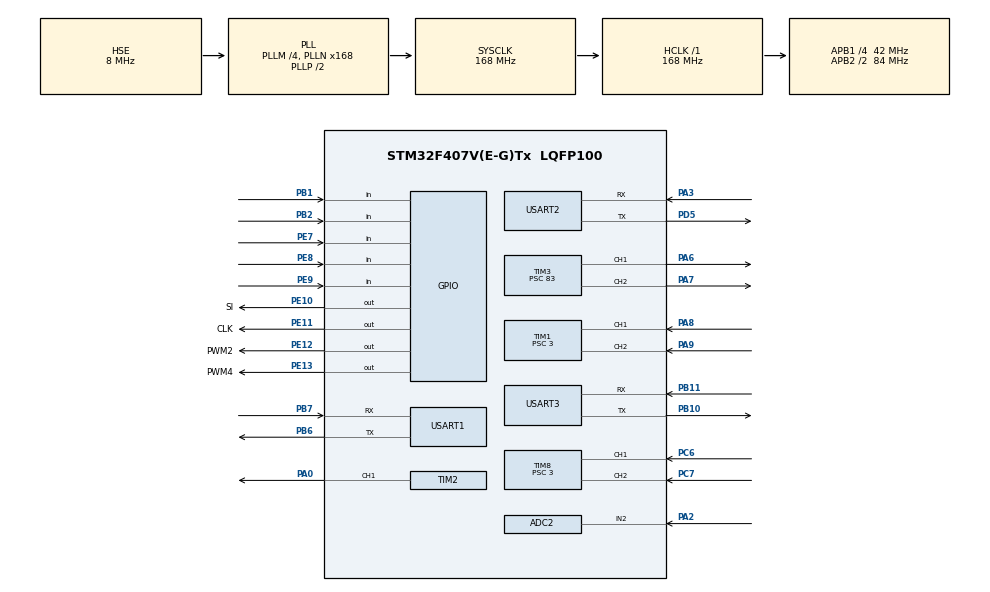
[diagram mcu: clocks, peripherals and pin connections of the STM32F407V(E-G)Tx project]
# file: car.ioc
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ADC2.Channel-1\#ChannelRegularConversion=ADC_CHANNEL_2
ADC2.ClockPrescaler=ADC_CLOCK_SYNC_PCLK_DIV6
ADC2.NbrOfConversionFlag=1
ADC2.Rank-1\#ChannelRegularConversion=1
ADC2.Resolution=ADC_RESOLUTION_8B
ADC2.SamplingTime-1\#ChannelRegularConversion=ADC_SAMPLETIME_3CYCLES
Mcu.Family=STM32F4
Mcu.Name=STM32F407V(E-G)Tx
Mcu.Package=LQFP100
NVIC.ADC_IRQn=true\:0\:0\:false\:false\:true\:true\:true
NVIC.PriorityGroup=NVIC_PRIORITYGROUP_4
NVIC.TIM4_IRQn=true\:1\:0\:true\:false\:true\:true\:true
NVIC.TIM7_IRQn=true\:2\:0\:true\:false\:true\:true\:true
NVIC.USART1_IRQn=true\:0\:0\:false\:false\:true\:true\:true
PA0-WKUP.Signal=S_TIM2_CH1_ETR
PA13.Mode=Serial_Wire
PA13.Signal=SYS_JTMS-SWDIO
PA14.Mode=Serial_Wire
PA14.Signal=SYS_JTCK-SWCLK
PA2.Signal=ADCx_IN2
PA3.Mode=Asynchronous
PA3.Signal=USART2_RX
PA6.Signal=S_TIM3_CH1
PA7.Signal=S_TIM3_CH2
PA8.Signal=S_TIM1_CH1
PA9.Signal=S_TIM1_CH2
PB1.GPIO_PuPd=GPIO_PULLDOWN
PB1.Signal=GPIO_Input
PB10.Mode=Asynchronous
PB10.Signal=USART3_TX
PB11.Mode=Asynchronous
PB11.Signal=USART3_RX
PB2.Signal=GPIO_Input
PB6.Mode=Asynchronous
PB6.Signal=USART1_TX
PB7.Mode=Asynchronous
PB7.Signal=USART1_RX
PC14-OSC32_IN.Mode=LSE-External-Oscillator
PC14-OSC32_IN.Signal=RCC_OSC32_IN
PC15-OSC32_OUT.Mode=LSE-External-Oscillator
PC15-OSC32_OUT.Signal=RCC_OSC32_OUT
PC6.Signal=S_TIM8_CH1
PC7.Signal=S_TIM8_CH2
PD5.Mode=Asynchronous
PD5.Signal=USART2_TX
PE10.GPIO_Label=SI
PE10.Signal=GPIO_Output
PE11.GPIO_Label=CLK
PE11.GPIO_Speed=GPIO_SPEED_FREQ_LOW
PE11.Signal=GPIO_Output
PE12.GPIO_Label=PWM2
PE12.Signal=GPIO_Output
PE13.GPIO_Label=PWM4
PE13.Signal=GPIO_Output
PE7.GPIO_PuPd=GPIO_PULLDOWN
PE7.Signal=GPIO_Input
PE8.GPIO_PuPd=GPIO_PULLDOWN
PE8.Signal=GPIO_Input
PE9.GPIO_PuPd=GPIO_PULLDOWN
PE9.Signal=GPIO_Input
PH0-OSC_IN.Mode=HSE-External-Oscillator
PH0-OSC_IN.Signal=RCC_OSC_IN
PH1-OSC_OUT.Mode=HSE-External-Oscillator
PH1-OSC_OUT.Signal=RCC_OSC_OUT
ProjectManager.HeapSize=0x200
ProjectManager.StackSize=0x400
ProjectManager.TargetToolchain=MDK-ARM V5
RCC.48MHZClocksFreq_Value=84000000
RCC.AHBFreq_Value=168000000
RCC.APB1CLKDivider=RCC_HCLK_DIV4
RCC.APB1Freq_Value=42000000
RCC.APB1TimFreq_Value=84000000
RCC.APB2CLKDivider=RCC_HCLK_DIV2
RCC.APB2Freq_Value=84000000
RCC.APB2TimFreq_Value=168000000
RCC.CortexFreq_Value=168000000
RCC.HCLKFreq_Value=168000000
RCC.HSE_VALUE=8000000
RCC.HSI_VALUE=16000000
RCC.PLLM=4
RCC.PLLN=168
RCC.PLLSourceVirtual=RCC_PLLSOURCE_HSE
RCC.SYSCLKFreq_VALUE=168000000
RCC.SYSCLKSource=RCC_SYSCLKSOURCE_PLLCLK
RCC.VCOOutputFreq_Value=336000000
SH.ADCx_IN2.0=ADC2_IN2,IN2
SH.S_TIM1_CH1.0=TIM1_CH1,Encoder_Interface
SH.S_TIM1_CH2.0=TIM1_CH2,Encoder_Interface
SH.S_TIM2_CH1_ETR.0=TIM2_CH1,PWM Generation1 CH1
SH.S_TIM3_CH1.0=TIM3_CH1,PWM Generation1 CH1
SH.S_TIM3_CH2.0=TIM3_CH2,PWM Generation2 CH2
SH.S_TIM8_CH1.0=TIM8_CH1,Encoder_Interface
SH.S_TIM8_CH2.0=TIM8_CH2,Encoder_Interface
TIM1.EncoderMode=TIM_ENCODERMODE_TI12
TIM1.Prescaler=3
TIM2.AutoReloadPreload=TIM_AUTORELOAD_PRELOAD_ENABLE
TIM2.Channel-Input_Capture1_from_TI1=TIM_CHANNEL_1
TIM2.Channel-PWM\ Generation1\ CH1=TIM_CHANNEL_1
TIM2.Period=839
TIM2.Prescaler=1999
TIM3.AutoReloadPreload=TIM_AUTORELOAD_PRELOAD_ENABLE
TIM3.Channel-PWM\ Generation1\ CH1=TIM_CHANNEL_1
TIM3.Channel-PWM\ Generation2\ CH2=TIM_CHANNEL_2
TIM3.Period=499
TIM3.Prescaler=83
TIM4.AutoReloadPreload=TIM_AUTORELOAD_PRELOAD_ENABLE
TIM4.Period=20
TIM4.Prescaler=3
TIM7.AutoReloadPreload=TIM_AUTORELOAD_PRELOAD_ENABLE
TIM7.Period=2099
TIM7.Prescaler=19
TIM8.EncoderMode=TIM_ENCODERMODE_TI12
TIM8.Prescaler=3
USART1.VirtualMode=VM_ASYNC
USART2.VirtualMode=VM_ASYNC
USART3.VirtualMode=VM_ASYNC
VP_TIM2_VS_ClockSourceINT.Mode=Internal
VP_TIM3_VS_ClockSourceINT.Mode=Internal
VP_TIM4_VS_ClockSourceINT.Mode=Internal
VP_TIM7_VS_ClockSourceINT.Mode=Enable_Timer
board=custom

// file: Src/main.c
/* USER CODE BEGIN Header */
/**
  ******************************************************************************
  * @file           : main.c
  * @brief          : Main program body
  ******************************************************************************
  * @attention
  *
  * <h2><center>&copy; Copyright (c) 2020 STMicroelectronics.
  * All rights reserved.</center></h2>
  *
  * This software component is licensed by ST under BSD 3-Clause license,
  * the "License"; You may not use this file except in compliance with the
  * License. You may obtain a copy of the License at:
  *                        opensource.org/licenses/BSD-3-Clause
  *
  ******************************************************************************
  */
/* USER CODE END Header */

#include "main.h"
#include "adc.h"
#include "tim.h"
#include "usart.h"
#include "gpio.h"

/* USER CODE BEGIN Includes */

#include <stdio.h>
#include <string.h>
#include <stdlib.h>
#include "structoperation.h"
#include "connect.h"

/* USER CODE END Includes */

/* USER CODE BEGIN PTD */

#define RXBUFFERSIZE  256

char RxBuffer[RXBUFFERSIZE];  //串口接收使用数组
uint8_t aRxBuffer;            //同上
uint8_t Uart1_Rx_Cnt = 0;     //串口接收计数
int16_t direction[MAXN] = {0};       //舵机PID值暂存
char ad_flag = 1;             //ADC完成标志位（用于同步锁）
char ccd_flag = 0;            //CCD的CLK电平记录，用于调控CLK输出
char zhijiao = 0;             //暂时没啥用
uint8_t ccd_s[128] = {0};     //CCD原始值记录
uint8_t ccd_p[2][128] = {0};  //CCD处理值记录，二维数组保存上一次记录
uint16_t ccd_count = 0;       //CCD的CLK输出计次，用于调控数组写入
uint16_t ccd_SI = 350;       //CCD曝光时间，单位为半个CLK周期，受转换限制影响，该值需大于171
uint8_t ccd_ok = 0;
extern uint8_t step;

//ccd处理函数，包含二值化和舵机控制
void ccd_process(void);

/* USER CODE END PTD */

void SystemClock_Config(void);

int main(void)
{

  /* MCU Configuration--------------------------------------------------------*/

  /* Reset of all peripherals, Initializes the Flash interface and the Systick. */
  HAL_Init();

  /* Configure the system clock */
  SystemClock_Config();

  /* Initialize all configured peripherals */
  MX_GPIO_Init();
  MX_ADC2_Init();
  MX_TIM2_Init();
  MX_TIM3_Init();
  MX_TIM4_Init();
  MX_USART1_UART_Init();
  MX_TIM7_Init();
  MX_TIM1_Init();
  MX_TIM8_Init();
  MX_USART2_UART_Init();
  MX_USART3_UART_Init();
  /* USER CODE BEGIN 2 */
	//定时器和串口初始化
	HAL_UART_Receive_IT(&huart1, (uint8_t *)&aRxBuffer, 1);
	HAL_TIM_PWM_Start(&htim2, TIM_CHANNEL_1);
	HAL_TIM_PWM_Start(&htim3, TIM_CHANNEL_1);
	HAL_TIM_PWM_Start(&htim3, TIM_CHANNEL_2);
	HAL_TIM_Encoder_Start(&htim1, TIM_CHANNEL_ALL);
	HAL_TIM_Encoder_Start(&htim8, TIM_CHANNEL_ALL);
	HAL_TIM_Base_Start_IT(&htim4);
	HAL_TIM_Base_Start_IT(&htim7);

	//写入IO口初始值
	HAL_GPIO_WritePin(SI_GPIO_Port, SI_Pin, GPIO_PIN_RESET);
	HAL_GPIO_WritePin(CLK_GPIO_Port, CLK_Pin, GPIO_PIN_RESET);
	HAL_GPIO_WritePin(PWM2_GPIO_Port, PWM2_Pin, GPIO_PIN_RESET);
	HAL_GPIO_WritePin(PWM2_GPIO_Port, PWM4_Pin, GPIO_PIN_RESET);

	//设置电机PWM（暂时没写差速
	__HAL_TIM_SetCompare(&htim3, TIM_CHANNEL_1, 70);
	__HAL_TIM_SetCompare(&htim3, TIM_CHANNEL_2, 70);
	//printf("start\n");

  /* USER CODE END 2 */

  /* Infinite loop */
  while (1)
  {
    /* USER CODE BEGIN 3 */
		/*
		char se[130];
		uint8_t i;
		int16_t data[2] = {10,20};

		//通过串口2发送direction的图像
		data[0] = direction[0];
		send(data, 1);

		//通过串口3直接以01发送CCD二值化以后的数据
		for(i = 0; i < 128; i++)
		{
			se[i] = ccd_p[0][i] + '0';
		}
		se[128] = '\n';
		se[129] = '\r';
		HAL_UART_Transmit(&huart3, (uint8_t *)se, 130,0xFFFF);

		//通过串口1发送CCD原始图像
		send_ccd();

		//频率设为10hz
		HAL_Delay(100);
		*/
		HAL_Delay(6000);
		step = 1;
		HAL_Delay(1200);
		step = 0;
		HAL_Delay(3400);
		step = 0;
		HAL_Delay(1800);
		step = 0;

  }

  /* USER CODE END 3 */
}

void SystemClock_Config(void)
{
  RCC_OscInitTypeDef RCC_OscInitStruct = {0};
  RCC_ClkInitTypeDef RCC_ClkInitStruct = {0};

  /** Configure the main internal regulator output voltage
  */
  __HAL_RCC_PWR_CLK_ENABLE();
  __HAL_PWR_VOLTAGESCALING_CONFIG(PWR_REGULATOR_VOLTAGE_SCALE1);
  /** Initializes the CPU, AHB and APB busses clocks
  */
  RCC_OscInitStruct.OscillatorType = RCC_OSCILLATORTYPE_HSE;
  RCC_OscInitStruct.HSEState = RCC_HSE_ON;
  RCC_OscInitStruct.PLL.PLLState = RCC_PLL_ON;
  RCC_OscInitStruct.PLL.PLLSource = RCC_PLLSOURCE_HSE;
  RCC_OscInitStruct.PLL.PLLM = 4;
  RCC_OscInitStruct.PLL.PLLN = 168;
  RCC_OscInitStruct.PLL.PLLP = RCC_PLLP_DIV2;
  RCC_OscInitStruct.PLL.PLLQ = 4;
  if (HAL_RCC_OscConfig(&RCC_OscInitStruct) != HAL_OK)
  {
    Error_Handler();
  }
  /** Initializes the CPU, AHB and APB busses clocks
  */
  RCC_ClkInitStruct.ClockType = RCC_CLOCKTYPE_HCLK|RCC_CLOCKTYPE_SYSCLK
                              |RCC_CLOCKTYPE_PCLK1|RCC_CLOCKTYPE_PCLK2;
  RCC_ClkInitStruct.SYSCLKSource = RCC_SYSCLKSOURCE_PLLCLK;
  RCC_ClkInitStruct.AHBCLKDivider = RCC_SYSCLK_DIV1;
  RCC_ClkInitStruct.APB1CLKDivider = RCC_HCLK_DIV4;
  RCC_ClkInitStruct.APB2CLKDivider = RCC_HCLK_DIV2;

  if (HAL_RCC_ClockConfig(&RCC_ClkInitStruct, FLASH_LATENCY_5) != HAL_OK)
  {
    Error_Handler();
  }
}

/* USER CODE BEGIN 4 */

//串口回调函数
void HAL_UART_RxCpltCallback(UART_HandleTypeDef *huart)
{
  /* Prevent unused argument(s) compilation warning */
  UNUSED(huart);
	struct anotext send;
	char ss[2], *sss;
  /* NOTE: This function Should not be modified, when the callback is needed,
           the HAL_UART_TxCpltCallback could be implemented in the user file
   */

	if(Uart1_Rx_Cnt >= 255)
	{
		Uart1_Rx_Cnt = 0;
		memset(RxBuffer,0x00,sizeof(RxBuffer));
		HAL_UART_Transmit(&huart1, (uint8_t *)"数据溢出", 10,0xFFFF);

	}
	else
	{
		RxBuffer[Uart1_Rx_Cnt++] = aRxBuffer;
		//匿名地面站数据解析程序
		struct anotext t = char2ano(RxBuffer);
		if(t.head == 0xaaaf && t.sum == Uart1_Rx_Cnt)
		{
			uint8_t i;
			send.head = 0xaaaa;
			send.name = 0xef;
			send.len = 2;
			ss[0] = t.name;
			ss[1] = t.sum;
			send.data = ss;
			send.sum = 0;
			sss = ano2char(send);
			for(i = 0; i < 6; i++)
				sss[6] = sss[i];
			HAL_UART_Transmit(&huart1, (uint8_t *)sss, 7,0xFFFF);
			free(sss);
			delstr(send);
			//写入数据部分写在下面

		}
	}

	HAL_UART_Receive_IT(&huart1, (uint8_t *)&aRxBuffer, 1);
}
/* USER CODE END 4 */

void Error_Handler(void)
{
}

/************************ (C) COPYRIGHT STMicroelectronics *****END OF FILE****/
